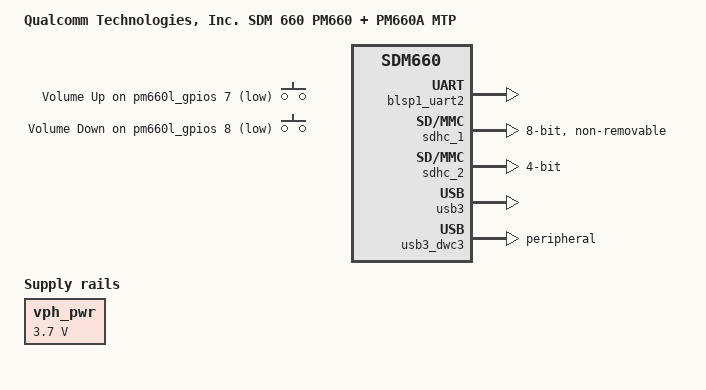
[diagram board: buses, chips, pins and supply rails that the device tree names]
// SPDX-License-Identifier: (GPL-2.0+ OR BSD-3-Clause)
/*
 * Device Tree for OPPO R11 (oppo16051)
 * Qualcomm Snapdragon 660 (SDM660)
 */

/dts-v1/;

#include "sdm660.dtsi"
#include "pm660.dtsi"
#include "pm660l.dtsi"
#include <dt-bindings/input/input.h>
#include <dt-bindings/input/gpio-keys.h>

/ {
	model = "Qualcomm Technologies, Inc. SDM 660 PM660 + PM660A MTP";
	compatible = "oppo,r11", "qcom,sdm660-mtp", "qcom,sdm660", "qcom,mtp";
	chassis-type = "handset";

	/* Qualcomm ABL exact matching identifiers */
	qcom,msm-id = <0x13d 0x00>;
	qcom,board-id = <0x08 0x00 0x3eb3>;
	qcom,pmic-id = <0x1001b 0x1011a 0x00 0x00 0x1001b 0x2001a 0x00 0x00 0x1001b 0x202001a 0x00 0x00>;

	aliases {
		serial0 = &blsp1_uart2; /* Debug UART at 0xc170000 */
	};

	chosen {
		#address-cells = <2>;
		#size-cells = <2>;
		ranges;

		stdout-path = "serial0:115200n8";

		/* Pre-initialized stock framebuffer fallback */
		framebuffer0: framebuffer@9d400000 {
			compatible = "simple-framebuffer";
			reg = <0 0x9d400000 0 (1080 * 1920 * 4)>;
			width = <1080>;
			height = <1920>;
			stride = <(1080 * 4)>;
			format = "a8r8g8b8";
		};
	};

	gpio-keys {
		compatible = "gpio-keys";

		key-volume-up {
			label = "Volume Up";
			gpios = <&pm660l_gpios 7 GPIO_ACTIVE_LOW>;
			linux,code = <KEY_VOLUMEUP>;
			debounce-interval = <15>;
		};

		key-volume-down {
			label = "Volume Down";
			gpios = <&pm660l_gpios 8 GPIO_ACTIVE_LOW>;
			linux,code = <KEY_VOLUMEDOWN>;
			debounce-interval = <15>;
		};
	};

	vph_pwr: vph-pwr-regulator {
		compatible = "regulator-fixed";
		regulator-name = "vph_pwr";
		regulator-min-microvolt = <3700000>;
		regulator-max-microvolt = <3700000>;
		regulator-always-on;
	};
};

/* Early serial console */
&blsp1_uart2 {
	status = "okay";
};

/* Internal eMMC storage */
&sdhc_1 {
	status = "okay";
	supports-cqe;
	bus-width = <8>;
	non-removable;
};

/* MicroSD slot */
&sdhc_2 {
	status = "okay";
	bus-width = <4>;
};

/* USB 3.0 / 2.0 controller */
&usb3 {
	status = "okay";
};

&usb3_dwc3 {
	dr_mode = "peripheral";
	maximum-speed = "high-speed";
};
